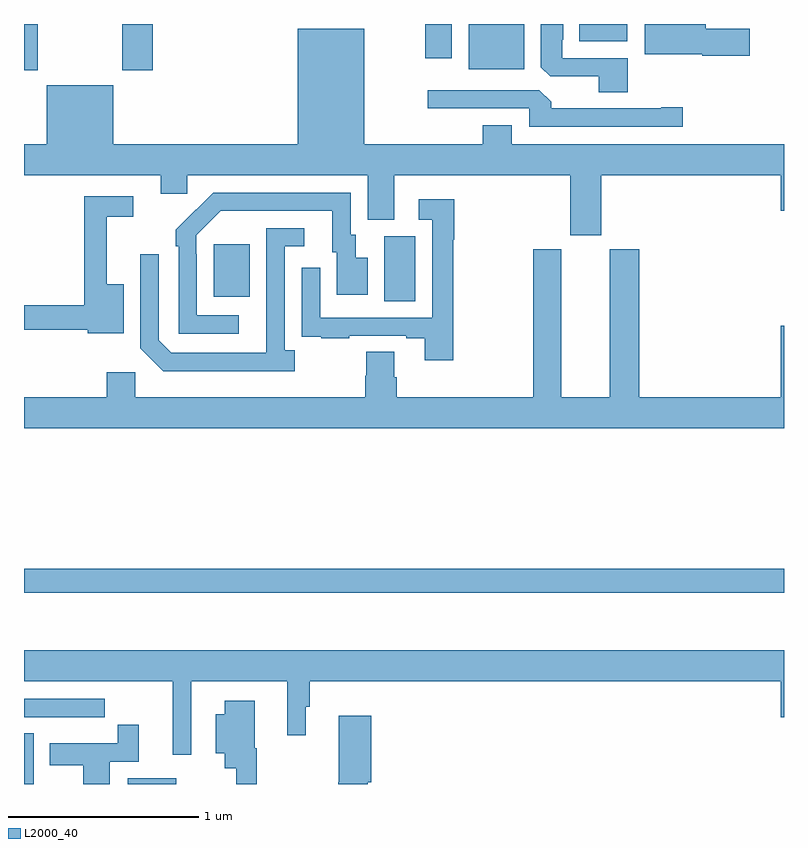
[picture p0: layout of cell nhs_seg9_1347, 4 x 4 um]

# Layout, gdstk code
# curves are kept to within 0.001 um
import gdstk
lib = gdstk.Library(unit=1e-6, precision=1e-09)
def R(c, l, rs):  # rectangles x0, y0, x1, y1
    for r in rs: c.add(gdstk.rectangle(r[:2], r[2:], *l))
def P(c, l, *ps):  # polygons
    for p in ps: c.add(gdstk.Polygon(p, *l))
L2000_40 = (2000, 40)

nhs_seg9_1347 = lib.new_cell('nhs_seg9_1347')
R(nhs_seg9_1347, L2000_40, [(185,1242.5,185.05,1242.767), (185.546,1242.5,185.8,1242.529), (185,1243.506,189,1243.634), (186.896,1245.04,187.06,1245.384), (185.999,1245.065,186.187,1245.34), (185,1246.257,185.073,1246.5), (185.518,1246.257,185.678,1246.5), (187.34,1246.262,187.633,1246.5), (187.111,1246.32,187.252,1246.5), (187.922,1246.409,188.176,1246.5)])
P(nhs_seg9_1347, L2000_40, [(188.821,1246.475),(188.588,1246.475),(188.588,1246.5),(188.268,1246.5),(188.268,1246.34),(188.571,1246.34),(188.571,1246.333),(188.821,1246.333)],
  [(188.177,1246.32),(187.833,1246.32),(187.833,1246.417),(187.837,1246.417),(187.837,1246.5),(187.721,1246.5),(187.721,1246.273),(187.77,1246.224),(188.024,1246.224),(188.024,1246.141),(188.177,1246.141)],
  [(188.038,1245.704),(188.984,1245.704),(188.984,1245.516),(189,1245.516),(189,1245.868),(187.567,1245.868),(187.567,1245.967),(187.415,1245.967),(187.415,1245.868),(186.79,1245.868),(186.79,1246.474),(186.44,1246.474),(186.44,1245.868),(185.47,1245.868),(185.47,1246.177),(185.12,1246.177),(185.12,1245.868),(185,1245.868),(185,1245.704),(185.72,1245.704),(185.72,1245.606),(185.859,1245.606),(185.859,1245.704),(186.809,1245.704),(186.809,1245.469),(186.949,1245.469),(186.949,1245.704),(187.874,1245.704),(187.874,1245.387),(188.038,1245.387)],
  [(188.467,1246.061),(188.354,1246.061),(188.354,1246.056),(187.775,1246.056),(187.775,1246.09),(187.713,1246.152),(187.125,1246.152),(187.125,1246.056),(187.659,1246.056),(187.659,1245.96),(188.467,1245.96)],
  [(186.13,1244.967),(185.91,1244.967),(185.91,1245.287),(185.907,1245.287),(185.907,1245.387),(186.036,1245.516),(186.623,1245.516),(186.623,1245.3),(186.647,1245.3),(186.647,1245.075),(186.808,1245.075),(186.808,1245.271),(186.745,1245.271),(186.745,1245.39),(186.72,1245.39),(186.72,1245.612),(185.996,1245.612),(185.799,1245.417),(185.799,1245.329),(185.814,1245.329),(185.814,1244.871),(186.13,1244.871)],
  [(185.524,1245.13),(185.435,1245.13),(185.435,1245.486),(185.575,1245.486),(185.575,1245.594),(185.317,1245.594),(185.317,1245.02),(185,1245.02),(185,1244.892),(185.336,1244.892),(185.336,1244.873),(185.524,1244.873)],
  [(187.258,1245.364),(187.265,1245.364),(187.265,1245.577),(187.077,1245.577),(187.077,1245.471),(187.149,1245.471),(187.149,1244.955),(186.558,1244.955),(186.558,1245.217),(186.462,1245.217),(186.462,1244.962),(186.463,1244.962),(186.463,1244.853),(186.565,1244.853),(186.565,1244.847),(186.713,1244.847),(186.713,1244.859),(187.013,1244.859),(187.013,1244.847),(187.109,1244.847),(187.109,1244.73),(187.258,1244.73)],
  [(186.424,1244.782),(186.372,1244.782),(186.372,1245.33),(186.475,1245.33),(186.475,1245.426),(186.276,1245.426),(186.275,1244.769),(185.775,1244.769),(185.709,1244.835),(185.709,1245.289),(185.613,1245.289),(185.613,1244.793),(185.734,1244.672),(186.424,1244.672)],
  [(189,1244.911),(188.984,1244.911),(188.984,1244.536),(188.237,1244.536),(188.237,1245.315),(188.084,1245.315),(188.084,1244.536),(187.828,1244.536),(187.828,1245.315),(187.681,1245.315),(187.681,1244.536),(186.962,1244.536),(186.962,1244.642),(186.949,1244.642),(186.949,1244.774),(186.802,1244.774),(186.802,1244.649),(186.797,1244.649),(186.797,1244.536),(185.586,1244.536),(185.586,1244.668),(185.435,1244.668),(185.435,1244.536),(185,1244.536),(185,1244.372),(189,1244.372)],
  [(185.88,1243.04),(186.386,1243.04),(186.386,1242.756),(186.484,1242.756),(186.484,1242.906),(186.503,1242.906),(186.503,1243.04),(188.984,1243.04),(188.984,1242.852),(189,1242.852),(189,1243.204),(185,1243.204),(185,1243.04),(185.783,1243.04),(185.783,1242.654),(185.88,1242.654)],
  [(185.312,1242.852),(185.425,1242.852),(185.425,1242.948),(185,1242.948),(185,1242.852),(185.146,1242.852),(185.146,1242.851),(185.312,1242.851)],
  [(186.226,1242.688),(186.214,1242.688),(186.214,1242.937),(186.056,1242.937),(186.056,1242.868),(186.008,1242.868),(186.008,1242.662),(186.056,1242.662),(186.056,1242.584),(186.117,1242.584),(186.117,1242.5),(186.226,1242.5)],
  [(186.809,1242.51),(186.827,1242.51),(186.827,1242.859),(186.656,1242.859),(186.656,1242.51),(186.655,1242.51),(186.655,1242.5),(186.809,1242.5)],
  [(185.452,1242.618),(185.603,1242.618),(185.603,1242.811),(185.494,1242.811),(185.494,1242.714),(185.135,1242.714),(185.135,1242.598),(185.312,1242.598),(185.312,1242.5),(185.452,1242.5)])

lib.write_gds('nhs_seg9_1347.gds')
